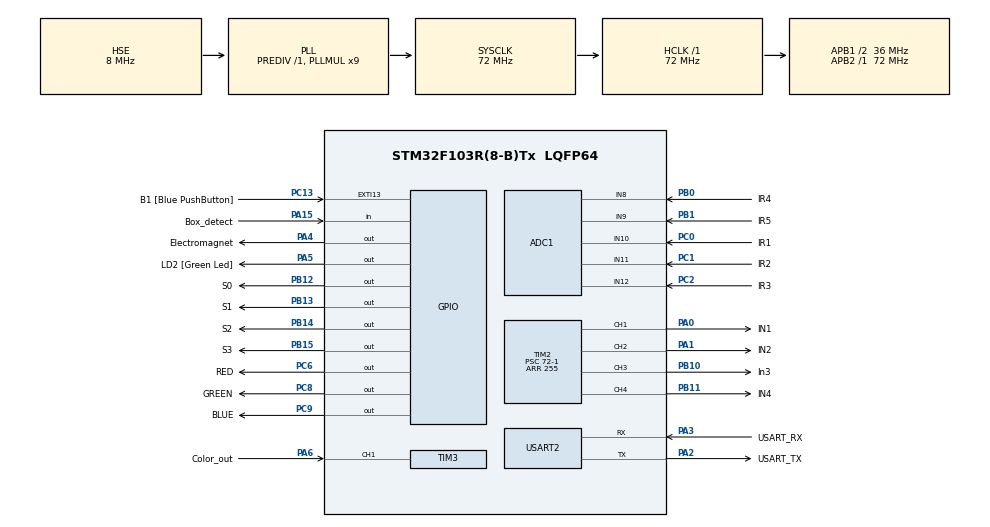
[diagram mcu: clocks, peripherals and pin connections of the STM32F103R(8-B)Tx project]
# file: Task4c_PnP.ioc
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ADC1.Channel-0\#ChannelRegularConversion=ADC_CHANNEL_10
ADC1.Channel-1\#ChannelRegularConversion=ADC_CHANNEL_11
ADC1.Channel-2\#ChannelRegularConversion=ADC_CHANNEL_12
ADC1.Channel-3\#ChannelRegularConversion=ADC_CHANNEL_8
ADC1.Channel-4\#ChannelRegularConversion=ADC_CHANNEL_9
ADC1.ContinuousConvMode=ENABLE
ADC1.NbrOfConversion=5
ADC1.NbrOfConversionFlag=1
ADC1.Rank-0\#ChannelRegularConversion=1
ADC1.Rank-1\#ChannelRegularConversion=2
ADC1.Rank-2\#ChannelRegularConversion=3
ADC1.Rank-3\#ChannelRegularConversion=4
ADC1.Rank-4\#ChannelRegularConversion=5
ADC1.SamplingTime-0\#ChannelRegularConversion=ADC_SAMPLETIME_55CYCLES_5
ADC1.SamplingTime-1\#ChannelRegularConversion=ADC_SAMPLETIME_55CYCLES_5
ADC1.SamplingTime-2\#ChannelRegularConversion=ADC_SAMPLETIME_55CYCLES_5
ADC1.SamplingTime-3\#ChannelRegularConversion=ADC_SAMPLETIME_55CYCLES_5
ADC1.SamplingTime-4\#ChannelRegularConversion=ADC_SAMPLETIME_55CYCLES_5
ADC1.master=1
Dma.ADC1.0.Direction=DMA_PERIPH_TO_MEMORY
Dma.ADC1.0.Instance=DMA1_Channel1
Dma.ADC1.0.MemDataAlignment=DMA_MDATAALIGN_HALFWORD
Dma.ADC1.0.MemInc=DMA_MINC_ENABLE
Dma.ADC1.0.Mode=DMA_CIRCULAR
Dma.ADC1.0.PeriphDataAlignment=DMA_PDATAALIGN_HALFWORD
Dma.ADC1.0.PeriphInc=DMA_PINC_DISABLE
Dma.ADC1.0.Priority=DMA_PRIORITY_LOW
Dma.Request0=ADC1
Mcu.Family=STM32F1
Mcu.Name=STM32F103R(8-B)Tx
Mcu.Package=LQFP64
NVIC.ADC1_2_IRQn=true\:0\:0\:false\:false\:true\:true\:true\:true
NVIC.DMA1_Channel1_IRQn=true\:0\:0\:false\:false\:true\:false\:true\:true
NVIC.EXTI15_10_IRQn=true\:0\:0\:false\:false\:true\:true\:true\:true
NVIC.PriorityGroup=NVIC_PRIORITYGROUP_4
NVIC.TIM3_IRQn=true\:0\:0\:false\:false\:true\:true\:true\:true
PA0-WKUP.GPIO_Label=IN1
PA0-WKUP.Signal=S_TIM2_CH1_ETR
PA1.GPIO_Label=IN2
PA1.Signal=S_TIM2_CH2
PA13.GPIO_Label=TMS
PA13.Mode=Serial_Wire
PA13.Signal=SYS_JTMS-SWDIO
PA14.GPIO_Label=TCK
PA14.Mode=Serial_Wire
PA14.Signal=SYS_JTCK-SWCLK
PA15.GPIO_Label=Box_detect
PA15.Signal=GPIO_Input
PA2.GPIO_Label=USART_TX
PA2.GPIO_Mode=GPIO_MODE_AF_PP
PA2.GPIO_PuPd=GPIO_NOPULL
PA2.GPIO_Speed=GPIO_SPEED_FREQ_LOW
PA2.Mode=Asynchronous
PA2.Signal=USART2_TX
PA3.GPIO_Label=USART_RX
PA3.GPIO_Mode=GPIO_MODE_AF_PP
PA3.GPIO_PuPd=GPIO_NOPULL
PA3.GPIO_Speed=GPIO_SPEED_FREQ_LOW
PA3.Mode=Asynchronous
PA3.Signal=USART2_RX
PA4.GPIO_Label=Electromagnet
PA4.Signal=GPIO_Output
PA5.GPIO_Label=LD2 [Green Led]
PA5.GPIO_ModeDefaultOutputPP=GPIO_MODE_OUTPUT_PP
PA5.GPIO_PuPd=GPIO_NOPULL
PA5.GPIO_Speed=GPIO_SPEED_FREQ_LOW
PA5.Signal=GPIO_Output
PA6.GPIO_Label=Color_out
PA6.Signal=S_TIM3_CH1
PB0.GPIO_Label=IR4
PB0.Signal=ADCx_IN8
PB1.GPIO_Label=IR5
PB1.Signal=ADCx_IN9
PB10.GPIO_Label=In3
PB10.Signal=S_TIM2_CH3
PB11.GPIO_Label=IN4
PB11.Signal=S_TIM2_CH4
PB12.GPIO_Label=S0
PB12.Signal=GPIO_Output
PB13.GPIO_Label=S1
PB13.Signal=GPIO_Output
PB14.GPIO_Label=S2
PB14.Signal=GPIO_Output
PB15.GPIO_Label=S3
PB15.Signal=GPIO_Output
PB3.GPIO_Label=SWO
PB3.Signal=SYS_JTDO-TRACESWO
PC0.GPIO_Label=IR1
PC0.Signal=ADCx_IN10
PC1.GPIO_Label=IR2
PC1.Signal=ADCx_IN11
PC13-TAMPER-RTC.GPIO_Label=B1 [Blue PushButton]
PC13-TAMPER-RTC.GPIO_PuPd=GPIO_NOPULL
PC13-TAMPER-RTC.Signal=GPXTI13
PC14-OSC32_IN.Mode=LSE-External-Oscillator
PC14-OSC32_IN.Signal=RCC_OSC32_IN
PC15-OSC32_OUT.Mode=LSE-External-Oscillator
PC15-OSC32_OUT.Signal=RCC_OSC32_OUT
PC2.GPIO_Label=IR3
PC2.Signal=ADCx_IN12
PC6.GPIO_Label=RED
PC6.Signal=GPIO_Output
PC8.GPIO_Label=GREEN
PC8.Signal=GPIO_Output
PC9.GPIO_Label=BLUE
PC9.Signal=GPIO_Output
PD0-OSC_IN.Mode=HSE-External-Clock-Source
PD0-OSC_IN.Signal=RCC_OSC_IN
PD1-OSC_OUT.Mode=HSE-External-Clock-Source
PD1-OSC_OUT.Signal=RCC_OSC_OUT
ProjectManager.HeapSize=0x200
ProjectManager.StackSize=0x400
ProjectManager.TargetToolchain=STM32CubeIDE
RCC.ADCPresc=RCC_ADCPCLK2_DIV6
RCC.AHBFreq_Value=72000000
RCC.APB1CLKDivider=RCC_HCLK_DIV2
RCC.APB1Freq_Value=36000000
RCC.APB1TimFreq_Value=72000000
RCC.APB2Freq_Value=72000000
RCC.APB2TimFreq_Value=72000000
RCC.HCLKFreq_Value=72000000
RCC.PLLMUL=RCC_PLL_MUL9
RCC.PLLSourceVirtual=RCC_PLLSOURCE_HSE
RCC.RTCClockSelection=RCC_RTCCLKSOURCE_LSE
RCC.SYSCLKFreq_VALUE=72000000
RCC.SYSCLKSource=RCC_SYSCLKSOURCE_PLLCLK
RCC.USBFreq_Value=72000000
SH.ADCx_IN10.0=ADC1_IN10,IN10
SH.ADCx_IN11.0=ADC1_IN11,IN11
SH.ADCx_IN12.0=ADC1_IN12,IN12
SH.ADCx_IN8.0=ADC1_IN8,IN8
SH.ADCx_IN9.0=ADC1_IN9,IN9
SH.S_TIM2_CH1_ETR.0=TIM2_CH1,PWM Generation1 CH1
SH.S_TIM2_CH2.0=TIM2_CH2,PWM Generation2 CH2
SH.S_TIM2_CH3.0=TIM2_CH3,PWM Generation3 CH3
SH.S_TIM2_CH4.0=TIM2_CH4,PWM Generation4 CH4
SH.S_TIM3_CH1.0=TIM3_CH1,Input_Capture1_from_TI1
TIM2.Channel-PWM\ Generation1\ CH1=TIM_CHANNEL_1
TIM2.Channel-PWM\ Generation2\ CH2=TIM_CHANNEL_2
TIM2.Channel-PWM\ Generation3\ CH3=TIM_CHANNEL_3
TIM2.Channel-PWM\ Generation4\ CH4=TIM_CHANNEL_4
TIM2.Period=255
TIM2.Prescaler=72-1
TIM3.Channel-Input_Capture1_from_TI1=TIM_CHANNEL_1
USART2.VirtualMode=VM_ASYNC
board=NUCLEO-F103RB

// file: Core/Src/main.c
/* USER CODE BEGIN Header */
/**
  ******************************************************************************
  * @file           : main.c
  * @brief          : Main program body
  ******************************************************************************
  * @attention
  *
  * Copyright (c) 2025 STMicroelectronics.
  * All rights reserved.
  *
  * This software is licensed under terms that can be found in the LICENSE file
  * in the root directory of this software component.
  * If no LICENSE file comes with this software, it is provided AS-IS.
  *
  ******************************************************************************
  */
/* USER CODE END Header */
#include "main.h"

/* USER CODE BEGIN Includes */
#include <math.h>

/* USER CODE END Includes */
#include "Color.h"
#include <stdio.h>

ADC_HandleTypeDef hadc1;
DMA_HandleTypeDef hdma_adc1;

TIM_HandleTypeDef htim2;
TIM_HandleTypeDef htim3;

UART_HandleTypeDef huart2;

void SystemClock_Config(void);
static void MX_GPIO_Init(void);
static void MX_DMA_Init(void);
static void MX_USART2_UART_Init(void);
static void MX_ADC1_Init(void);
static void MX_TIM2_Init(void);
static void MX_TIM3_Init(void);

/* USER CODE BEGIN 0 */

/* Line follower configuration */
#define NUM_SENSORS 5
volatile uint16_t adc_buf[NUM_SENSORS];

/* sensor weight for position calculation (left -> right) */
const float sensor_weights[NUM_SENSORS] = {-2.02f, -1.0f, 0.0f, 1.0f, 2.0f};

/* PID parameters (tweak on robot) */
/* Increased Kp/Kd for faster corrective response; reduce if oscillation occurs */
static float Kp = 36500.0f;
static float Ki = 0.6f;
static float Kd = 2.0f;

static float integral = 0.0f;
static float prev_error = 0.0f;

/* base pwm (0-255), tune for motors / battery */
static int base_speed = 60;

/* sensor inversion mode: -1 = auto-detect, 0 = no invert, 1 = force invert
  Set to 1 to treat lower ADC values as line (useful if your line is darker).
*/
static int sensor_invert_mode = 0;

/* prototypes */
void motors_set_speed(int16_t left, int16_t right);
float compute_line_error(void);
/* box / pickup state */
typedef enum {BOX_NONE=0, BOX_RED=1, BOX_GREEN=2, BOX_BLUE=3} box_color_t;
static volatile int carrying_box = 0; /* 0 = not carrying, 1 = carrying */
static box_color_t detected_box_color = BOX_NONE;
/* anti-retrigger timing (ms) after pickup or drop) */
static uint32_t last_box_action_tick = 0;
static const uint32_t BOX_ACTION_LOCK_MS = 2000; /* 2s lockout to avoid re-pick/drop */
/* timestamp when we started carrying the current box (ms) */
static uint32_t carrying_since_tick = 0;
/* helper: read TCS3200 and decide color (returns BOX_*). This mirrors logic in Color.c */
static box_color_t detect_box_color_from_tcs(void)
{
  uint32_t r = Color_ReadRed();
  uint32_t g = Color_ReadGreen();
  uint32_t b = Color_ReadBlue();

  uint32_t r_n = r;
  uint32_t g_n = (uint32_t)((float)g * COLOR_G_GAIN);
  uint32_t b_n = (uint32_t)((float)b * COLOR_B_GAIN);

  /* default: none */
  box_color_t res = BOX_NONE;

  if ((r_n > g_n + COLOR_DIFF - 100) && (r_n > b_n + COLOR_DIFF - 95)) {
    res = BOX_RED;
    HAL_GPIO_WritePin(RED_GPIO_Port, RED_Pin, GPIO_PIN_RESET); /* ON */
    HAL_GPIO_WritePin(GREEN_GPIO_Port, GREEN_Pin, GPIO_PIN_SET);
    HAL_GPIO_WritePin(BLUE_GPIO_Port, BLUE_Pin, GPIO_PIN_SET);
  } else if ((g_n > r_n + COLOR_DIFF) && (g_n > b_n + COLOR_DIFF)) {
    res = BOX_GREEN;
    HAL_GPIO_WritePin(RED_GPIO_Port, RED_Pin, GPIO_PIN_SET);
    HAL_GPIO_WritePin(GREEN_GPIO_Port, GREEN_Pin, GPIO_PIN_RESET); /* ON */
    HAL_GPIO_WritePin(BLUE_GPIO_Port, BLUE_Pin, GPIO_PIN_SET);
  } else if ((b_n > r_n + COLOR_DIFF) && (b_n > g_n + COLOR_DIFF)) {
    res = BOX_BLUE;
    HAL_GPIO_WritePin(RED_GPIO_Port, RED_Pin, GPIO_PIN_SET);
    HAL_GPIO_WritePin(GREEN_GPIO_Port, GREEN_Pin, GPIO_PIN_SET);
    HAL_GPIO_WritePin(BLUE_GPIO_Port, BLUE_Pin, GPIO_PIN_RESET); /* ON */
  } else {
    /* mixed/unknown: turn off RGB */
    HAL_GPIO_WritePin(RED_GPIO_Port, RED_Pin, GPIO_PIN_SET);
    HAL_GPIO_WritePin(GREEN_GPIO_Port, GREEN_Pin, GPIO_PIN_SET);
    HAL_GPIO_WritePin(BLUE_GPIO_Port, BLUE_Pin, GPIO_PIN_SET);
    res = BOX_NONE;
  }

  /* send debug over USART so user can tune thresholds if needed */
  char dbuf[128];
  int bl = snprintf(dbuf, sizeof(dbuf), "TCS RAW R=%lu G=%lu B=%lu -> Rn=%lu Gn=%lu Bn=%lu\r\n", r, g, b, r_n, g_n, b_n);
  if (bl > 0) HAL_UART_Transmit(&huart2, (uint8_t*)dbuf, (uint16_t)bl, 50);

  return res;
}

/* helper: debounce box detect sensor
   Returns 1 if sensor reports presence. Many IR reflectance/presence sensors
   are active-low on this board; use active-low sampling (RESET = presence).
*/
static int box_sensor_asserted(void)
{
  int count = 0;
  for (int i = 0; i < 4; ++i) {
    if (HAL_GPIO_ReadPin(Box_detect_GPIO_Port, Box_detect_Pin) == GPIO_PIN_RESET) count++;
    HAL_Delay(10);
  }
  return (count >= 3) ? 1 : 0;
}

/* smoothing / anti-overshoot helpers */
static float filtered_error = 0.0f;
static float derivative_filtered = 0.0f;
static float center_weight = 0.0f; /* normalized weight of middle sensor (0..1) */
static float prev_left_out = 0.0f;
static float prev_right_out = 0.0f;
/* flag set by compute_line_error() to indicate the line is currently seen */
static volatile int line_present = 1;
/* hysteresis counters for robust detection */
static int no_line_count = 0;
static int line_confirm_count = 0;

/* tuning constants for smoothing and limits */
/* Responsiveness tuning: higher EWMA_ALPHA -> faster reaction to new error
  DERIV_ALPHA closer to 1 retains more of the new derivative (faster react).
  MAX_CORRECTION increased to allow stronger correction power when needed. */
const float ERROR_EWMA_ALPHA = 0.70f;    /* 0..1, higher = faster to react */
const float DERIV_ALPHA = 0.80f;         /* derivative low-pass (higher = faster react) */
const float MAX_CORRECTION = 255.0f;     /* maximum correction applied to motors */
const float SLOWDOWN_ERROR = 1.f;       /* error magnitude that triggers max slowdown */
const float MIN_SPEED_SCALE = 0.03f;     /* minimum fraction of base speed during sharp turns */
const float INTEGRAL_WINDUP_LIMIT = 500.0f;
/* Detection / stability tuning */
const float MIN_WEIGHT_SUM = 0.02f;      /* minimum summed weight to consider the line present */
const float ERROR_DEADBAND = 0.02f;      /* small-error deadband to avoid wobble */
const float MAX_OUTPUT_DELTA = 80.0f;    /* max change in PWM value per cycle to smooth outputs */
/* additional detection tuning */
const float MIN_CONTRAST = 300.0f;       /* min (max-min) ADC difference to consider valid (0..4095) */
/* Amplify stronger sensor readings (white) via gamma >1 to make detection more decisive */
const float SENSOR_RESPONSE_GAMMA = 30;
const int NO_LINE_CONFIRM_COUNT = 3;     /* consecutive frames needed to declare no-line */
const int LINE_CONFIRM_COUNT = 2;        /* consecutive frames needed to declare line present */
/* When deciding to drop a carried box, require the recent positional error
  to be small so that sharp turns (which briefly lose the line) are not
  mistaken for the drop-off area. Tune this if you still see false drops. */
const float DROP_ERROR_THRESHOLD = 3.0f; /* max |error| allowed to consider a true drop (sensor-weight units) */
/* Require the previous motor outputs to indicate forward, straight motion
  before treating a sustained no-line as a drop. This helps avoid slow
  turning (small position error but non-forward motion) being misdetected
  as a drop-off. Tweak these values on the robot if needed. */
const float DROP_WHEEL_DIFF_THRESHOLD = 40.0f; /* max allowed |left-right| PWM difference */
const float DROP_MIN_FORWARD_SUM = 20.0f;     /* min sum(|left|+|right|) indicating the robot was moving */
/* Minimum time after pickup before a drop is allowed unconditionally (ms).
  This prevents immediate false drops and ensures the robot travels to a drop
  area; adjust to your course length and speeds. */
const uint32_t DROP_MIN_TRAVEL_MS = 4500;
/* USER CODE END 0 */

int main(void)
{

  /* MCU Configuration--------------------------------------------------------*/

  /* Reset of all peripherals, Initializes the Flash interface and the Systick. */
  HAL_Init();

  /* Configure the system clock */
  SystemClock_Config();

  /* Initialize all configured peripherals */
  MX_GPIO_Init();
  MX_DMA_Init();
  MX_USART2_UART_Init();
  MX_ADC1_Init();
  MX_TIM2_Init();
  MX_TIM3_Init();
  /* Initialize TCS3200 color sensor (uses TIM3 for input capture) */
  Color_Init(&htim3);
  /* USER CODE BEGIN 2 */

  /* Start PWM channels for motors (TIM2 CH1..CH4) */
  HAL_TIM_PWM_Start(&htim2, TIM_CHANNEL_1);
  HAL_TIM_PWM_Start(&htim2, TIM_CHANNEL_2);
  HAL_TIM_PWM_Start(&htim2, TIM_CHANNEL_3);
  HAL_TIM_PWM_Start(&htim2, TIM_CHANNEL_4);

  /* Ensure initial duty = 0 */
  __HAL_TIM_SET_COMPARE(&htim2, TIM_CHANNEL_1, 0);
  __HAL_TIM_SET_COMPARE(&htim2, TIM_CHANNEL_2, 0);
  __HAL_TIM_SET_COMPARE(&htim2, TIM_CHANNEL_3, 0);
  __HAL_TIM_SET_COMPARE(&htim2, TIM_CHANNEL_4, 0);

  /* Start ADC in DMA mode to continuously update adc_buf */
  HAL_ADC_Start_DMA(&hadc1, (uint32_t *)adc_buf, NUM_SENSORS);

  /* USER CODE END 2 */

  /* Infinite loop */
  while (1)
  {
    /* USER CODE BEGIN 3 */

    /* Simple PID line-following loop, sample time ~10ms */
    const float dt = 0.01f; /* seconds */

    float error = compute_line_error();

    /* --- Box pickup / drop state machine ---
       - If not carrying a box and box-detect sensor triggers, stop and read colour
       - Activate electromagnet to pick box and continue following
       - If carrying and IR array reports sustained no-line (drop zone), stop and release
    */
    if (!carrying_box) {
      /* sensor is wired active-low on this board: presence == GPIO_PIN_RESET
         Use debounce helper to avoid false triggers */
      /* enforce lockout: don't pickup again for BOX_ACTION_LOCK_MS after last action */
      if ((HAL_GetTick() - last_box_action_tick) >= BOX_ACTION_LOCK_MS) {
        /* only attempt pickup while robot is on the line (avoid pickups in the drop/black area) */
        if (line_present && box_sensor_asserted()) {
        /* stop motors to perform detection */
        motors_set_speed(0, 0);
        __HAL_TIM_SET_COMPARE(&htim2, TIM_CHANNEL_1, 0);
        __HAL_TIM_SET_COMPARE(&htim2, TIM_CHANNEL_2, 0);
        __HAL_TIM_SET_COMPARE(&htim2, TIM_CHANNEL_3, 0);
        __HAL_TIM_SET_COMPARE(&htim2, TIM_CHANNEL_4, 0);
        HAL_Delay(50);

        /* detect colour using timer-based reads and set on-board RGB */
        detected_box_color = detect_box_color_from_tcs();

        /* engage electromagnet to pick up box (assumed active HIGH) */
        HAL_GPIO_WritePin(Electromagnet_GPIO_Port, Electromagnet_Pin, GPIO_PIN_SET);
        /* turn on indicator LED (LD2) to show box is held; keep until drop */
        HAL_GPIO_WritePin(LD2_GPIO_Port, LD2_Pin, GPIO_PIN_SET);
        carrying_box = 1;
        /* record when we started carrying so we can require some travel before drop */
        carrying_since_tick = HAL_GetTick();
        /* start lockout timer to avoid immediate re-trigger */
        last_box_action_tick = HAL_GetTick();
        HAL_Delay(300);
        }
      }
    } else {
      /* carrying a box: check for drop-off zone (no-line sustained) */
        /* Drop condition: only use timing-based check to decide drop.
           This avoids false negatives from wheel/alignment checks on slow turns. */
        if (!line_present && (no_line_count >= NO_LINE_CONFIRM_COUNT) &&
            ((HAL_GetTick() - carrying_since_tick) >= DROP_MIN_TRAVEL_MS)) {
        /* arrived at drop area: stop and release */
        motors_set_speed(0, 0);
        __HAL_TIM_SET_COMPARE(&htim2, TIM_CHANNEL_1, 0);
        __HAL_TIM_SET_COMPARE(&htim2, TIM_CHANNEL_2, 0);
        __HAL_TIM_SET_COMPARE(&htim2, TIM_CHANNEL_3, 0);
        __HAL_TIM_SET_COMPARE(&htim2, TIM_CHANNEL_4, 0);
        HAL_Delay(50);

        /* release electromagnet and clear indicator LED */
        HAL_GPIO_WritePin(Electromagnet_GPIO_Port, Electromagnet_Pin, GPIO_PIN_RESET);
        carrying_box = 0;
        /* start lockout timer so robot doesn't immediately pick up again */
        last_box_action_tick = HAL_GetTick();
        HAL_GPIO_WritePin(LD2_GPIO_Port, LD2_Pin, GPIO_PIN_RESET);

        /* ensure RGB LED is turned off (common-anode: HIGH = off) */
        HAL_GPIO_WritePin(RED_GPIO_Port, RED_Pin, GPIO_PIN_SET);
        HAL_GPIO_WritePin(GREEN_GPIO_Port, GREEN_Pin, GPIO_PIN_SET);
        HAL_GPIO_WritePin(BLUE_GPIO_Port, BLUE_Pin, GPIO_PIN_SET);

        HAL_Delay(200);
      }
    }

    /* If no line is present, immediately stop the motors and clear state
       so the robot doesn't continue turning when it shouldn't. */
    if (!line_present) {
      integral = 0.0f;
      prev_error = 0.0f;
      filtered_error = 0.0f;
      derivative_filtered = 0.0f;
      prev_left_out = 0.0f;
      prev_right_out = 0.0f;
      /* Force PWM compare to zero on all TIM2 channels used for motors to ensure stop */
      motors_set_speed(0, 0);
      __HAL_TIM_SET_COMPARE(&htim2, TIM_CHANNEL_1, 0);
      __HAL_TIM_SET_COMPARE(&htim2, TIM_CHANNEL_2, 0);
      __HAL_TIM_SET_COMPARE(&htim2, TIM_CHANNEL_3, 0);
      __HAL_TIM_SET_COMPARE(&htim2, TIM_CHANNEL_4, 0);
      HAL_Delay(0);
      continue;
    }

     /* Smoothed PID + speed scaling to keep middle sensor centered on curves
       - EWMA filter the error to reduce noise
       - Low-pass derivative to avoid spikes
       - Anti-windup on integral
       - Clamp correction magnitude
       - Scale base speed down on large errors to keep the robot from cutting the corner
       - Reduce allowed correction when the center sensor strongly detects the line
     */
     /* EWMA error */
     filtered_error = (ERROR_EWMA_ALPHA * error) + ((1.0f - ERROR_EWMA_ALPHA) * filtered_error);

     /* derivative (raw delta on filtered error) and LPF it */
     float deriv_raw = (filtered_error - prev_error) / dt;
     derivative_filtered = (DERIV_ALPHA * deriv_raw) + ((1.0f - DERIV_ALPHA) * derivative_filtered);

     /* integral with windup guard */
     integral += filtered_error * dt;
     if (integral > INTEGRAL_WINDUP_LIMIT) integral = INTEGRAL_WINDUP_LIMIT;
     if (integral < -INTEGRAL_WINDUP_LIMIT) integral = -INTEGRAL_WINDUP_LIMIT;

     /* compute correction using existing Kp/Ki/Kd (tuned for PWM scale) */
     float correction = (Kp * filtered_error) + (Ki * integral) + (Kd * derivative_filtered);

     /* reduce max correction when center sensor strongly sees the line (avoid crossing) */
     float center_influence = 1.0f - center_weight; /* center 1.0 -> allow less correction */
     float max_corr_allowed = MAX_CORRECTION * (0.3f + 0.2f * center_influence); /* between 0.3..1.0 factor */
     if (correction > max_corr_allowed) correction = max_corr_allowed;
     if (correction < -max_corr_allowed) correction = -max_corr_allowed;

     /* speed scaling: reduce base speed proportionally to absolute filtered error */
     float err_mag = fabsf(filtered_error);
     float speed_scale = 0.8f;
     if (err_mag >= SLOWDOWN_ERROR) speed_scale = MIN_SPEED_SCALE;
     else speed_scale = 1.0f - ((err_mag / SLOWDOWN_ERROR) * (1.0f - MIN_SPEED_SCALE));

     float base_f = (float)base_speed * speed_scale;
     float left_f = base_f - correction;
     float right_f = base_f + correction;

    /* If this is a sharp turn, set the inner (slower) wheel to zero so
       the robot can pivot cleanly instead of trying to reverse the inner
       wheel. Trigger when correction is near the allowed maximum OR when
       the absolute filtered error is large. */
    const float SHARP_TURN_RATIO = 0.8f; /* fraction of allowed correction */

    /* small-error deadband to avoid wobble around center */
    if (fabsf(filtered_error) < ERROR_DEADBAND) {
      correction = 0.0f;
      /* reduce integral to avoid slow recovery oscillation */
      integral = -1.0f;
    }

    if ((fabsf(correction) >= (SHARP_TURN_RATIO * max_corr_allowed)) || (err_mag >= SLOWDOWN_ERROR)) {
      if (correction > 0.0f) {
        /* turning left => left wheel is inner, stop it */
        left_f = 0.0f;
      } else if (correction < 0.0f) {
        /* turning right => right wheel is inner, stop it */
        right_f = 0.0f;
      }
    }

     /* update prev_error used for derivative (store filtered) */
     prev_error = filtered_error;

     /* clamp to -255..255 */
     if (left_f > 255.0f) left_f = 255.0f;
     if (left_f < -255.0f) left_f = -255.0f;
     if (right_f > 255.0f) right_f = 255.0f;
     if (right_f < -255.0f) right_f = -255.0f;

     /* Smooth motor outputs: limit how fast we change PWM to reduce wobble
       and help the robot start moving consistently. */
     float desired_left = left_f;
     float desired_right = right_f;
     float delta_left = desired_left - prev_left_out;
     float delta_right = desired_right - prev_right_out;
     if (delta_left > MAX_OUTPUT_DELTA) delta_left = MAX_OUTPUT_DELTA;
     if (delta_left < -MAX_OUTPUT_DELTA) delta_left = -MAX_OUTPUT_DELTA;
     if (delta_right > MAX_OUTPUT_DELTA) delta_right = MAX_OUTPUT_DELTA;
     if (delta_right < -MAX_OUTPUT_DELTA) delta_right = -MAX_OUTPUT_DELTA;
     float out_left = prev_left_out + delta_left;
     float out_right = prev_right_out + delta_right;
     prev_left_out = out_left;
     prev_right_out = out_right;

  /* Helper functions were previously (incorrectly) defined inside the main loop.
     They are implemented at file scope below so they have proper linkage. */

    motors_set_speed((int16_t)out_left, (int16_t)out_right);

    HAL_Delay(0);
  }
  /* USER CODE END 3 */
}

/* File-scope helper: compute line error from adc_buf values
   Normalizes readings and computes weighted average position.
   Returns position error in sensor-weight units (negative = left, positive = right).
*/
float compute_line_error(void)
{
  float vals[NUM_SENSORS];
  float maxv = 1.0f;
  float minv = 65535.0f;
  float sum_vals = 0.0f;
  for (int i = 0; i < NUM_SENSORS; ++i) {
    vals[i] = (float)adc_buf[i];
    if (vals[i] > maxv) maxv = vals[i];
    if (vals[i] < minv) minv = vals[i];
    sum_vals += vals[i];
  }
  /* avoid divide by zero */
  if (maxv < 1.0f) maxv = 1.0f;

  /* Decide whether the line is darker or lighter than the background.
     Many reflectance sensors return larger ADC values on white and smaller
     on black; in that case we must invert the normalized values so the
     line contributes larger weight. We detect this at runtime using the
     min/max/average readings. */
  float avg = sum_vals / (float)NUM_SENSORS;
  float mid = (maxv + minv) * 0.5f;
  int auto_invert = (avg > mid) ? 1 : 0; /* 1 => background brighter than line */
  int invert;
  if (sensor_invert_mode == -1) {
    invert = auto_invert; /* auto-detect */
  } else {
    invert = (sensor_invert_mode == 1) ? 1 : 0; /* forced by user */
  }

  float sum = 0.0f;
  float weight_sum = 0.0f;
  for (int i = 0; i < NUM_SENSORS; ++i) {
    float norm = vals[i] / maxv; /* 0..1 */
    if (norm < 0.0f) norm = 0.0f;
    if (norm > 1.0f) norm = 1.0f;
    /* raw weight (0..1) depending on invert; then apply gamma to emphasize strong readings */
    float w_raw = invert ? (1.0f - norm) : norm;
    float w = powf(w_raw, SENSOR_RESPONSE_GAMMA);
    sum += w * sensor_weights[i];
    weight_sum += w;
    if (i == 2) {
      /* record center sensor normalized weight (0..1) for turn smoothing */
      center_weight = w;
    }
  }
  /* compute simple contrast (max - min) to ensure sensors see a real change */
  float contrast = maxv - minv;

  if ((weight_sum <= MIN_WEIGHT_SUM) || (contrast < MIN_CONTRAST)) {
    /* possible no-line: increment counter and only declare absent after several frames */
    no_line_count++;
    line_confirm_count = 0;
    if (no_line_count >= NO_LINE_CONFIRM_COUNT) {
      line_present = 0;
      return 0.0f;
    }
    /* still tentative; return previous error to keep behavior until confirmed */
    return prev_error > 0 ? 3.0f : -3.0f;
  }
  /* valid line detected: reset no_line_count, require a couple frames to confirm presence */
  no_line_count = 0;
  line_confirm_count++;
  if (line_confirm_count < LINE_CONFIRM_COUNT) {
    /* wait for stable detection */
    return prev_error > 0 ? 3.0f : -3.0f;
  }
  line_present = 1;
  float pos = sum / weight_sum;
  /* error is desired position (0) minus measured position */
  return 0.0f - pos;
}

/* File-scope helper: set motor speeds using TIM2 channels and direction pins
   Adjust direction GPIO names in `main.h` if your board uses different pins.
*/
void motors_set_speed(int16_t left, int16_t right)
{
#ifdef MOTOR_A_DIR1_Pin
  if (left >= 0) {
    HAL_GPIO_WritePin(MOTOR_A_DIR1_GPIO_Port, MOTOR_A_DIR1_Pin, GPIO_PIN_SET);
    HAL_GPIO_WritePin(MOTOR_A_DIR2_GPIO_Port, MOTOR_A_DIR2_Pin, GPIO_PIN_RESET);
    __HAL_TIM_SET_COMPARE(&htim2, TIM_CHANNEL_1, left);
  } else {
    HAL_GPIO_WritePin(MOTOR_A_DIR1_GPIO_Port, MOTOR_A_DIR1_Pin, GPIO_PIN_RESET);
    HAL_GPIO_WritePin(MOTOR_A_DIR2_GPIO_Port, MOTOR_A_DIR2_Pin, GPIO_PIN_SET);
    __HAL_TIM_SET_COMPARE(&htim2, TIM_CHANNEL_1, -left);
  }
#else
  if (left >= 0) __HAL_TIM_SET_COMPARE(&htim2, TIM_CHANNEL_1, left);
  else __HAL_TIM_SET_COMPARE(&htim2, TIM_CHANNEL_1, -left);
#endif

#ifdef MOTOR_B_DIR1_Pin
  if (right >= 0) {
    HAL_GPIO_WritePin(MOTOR_B_DIR1_GPIO_Port, MOTOR_B_DIR1_Pin, GPIO_PIN_SET);
    HAL_GPIO_WritePin(MOTOR_B_DIR2_GPIO_Port, MOTOR_B_DIR2_Pin, GPIO_PIN_RESET);
    __HAL_TIM_SET_COMPARE(&htim2, TIM_CHANNEL_3, right);
  } else {
    HAL_GPIO_WritePin(MOTOR_B_DIR1_GPIO_Port, MOTOR_B_DIR1_Pin, GPIO_PIN_RESET);
    HAL_GPIO_WritePin(MOTOR_B_DIR2_GPIO_Port, MOTOR_B_DIR2_Pin, GPIO_PIN_SET);
    __HAL_TIM_SET_COMPARE(&htim2, TIM_CHANNEL_3, -right);
  }
#else
  if (right >= 0) __HAL_TIM_SET_COMPARE(&htim2, TIM_CHANNEL_3, right);
  else __HAL_TIM_SET_COMPARE(&htim2, TIM_CHANNEL_3, -right);
#endif
}

void SystemClock_Config(void)
{
  RCC_OscInitTypeDef RCC_OscInitStruct = {0};
  RCC_ClkInitTypeDef RCC_ClkInitStruct = {0};
  RCC_PeriphCLKInitTypeDef PeriphClkInit = {0};

  /** Initializes the RCC Oscillators according to the specified parameters
  * in the RCC_OscInitTypeDef structure.
  */
  RCC_OscInitStruct.OscillatorType = RCC_OSCILLATORTYPE_HSE;
  RCC_OscInitStruct.HSEState = RCC_HSE_BYPASS;
  RCC_OscInitStruct.HSEPredivValue = RCC_HSE_PREDIV_DIV1;
  RCC_OscInitStruct.HSIState = RCC_HSI_ON;
  RCC_OscInitStruct.PLL.PLLState = RCC_PLL_ON;
  RCC_OscInitStruct.PLL.PLLSource = RCC_PLLSOURCE_HSE;
  RCC_OscInitStruct.PLL.PLLMUL = RCC_PLL_MUL9;
  if (HAL_RCC_OscConfig(&RCC_OscInitStruct) != HAL_OK)
  {
    Error_Handler();
  }

  /** Initializes the CPU, AHB and APB buses clocks
  */
  RCC_ClkInitStruct.ClockType = RCC_CLOCKTYPE_HCLK|RCC_CLOCKTYPE_SYSCLK
                              |RCC_CLOCKTYPE_PCLK1|RCC_CLOCKTYPE_PCLK2;
  RCC_ClkInitStruct.SYSCLKSource = RCC_SYSCLKSOURCE_PLLCLK;
  RCC_ClkInitStruct.AHBCLKDivider = RCC_SYSCLK_DIV1;
  RCC_ClkInitStruct.APB1CLKDivider = RCC_HCLK_DIV2;
  RCC_ClkInitStruct.APB2CLKDivider = RCC_HCLK_DIV1;

  if (HAL_RCC_ClockConfig(&RCC_ClkInitStruct, FLASH_LATENCY_2) != HAL_OK)
  {
    Error_Handler();
  }
  PeriphClkInit.PeriphClockSelection = RCC_PERIPHCLK_ADC;
  PeriphClkInit.AdcClockSelection = RCC_ADCPCLK2_DIV6;
  if (HAL_RCCEx_PeriphCLKConfig(&PeriphClkInit) != HAL_OK)
  {
    Error_Handler();
  }
}

static void MX_ADC1_Init(void)
{

  ADC_ChannelConfTypeDef sConfig = {0};

  /** Common config
  */
  hadc1.Instance = ADC1;
  hadc1.Init.ScanConvMode = ADC_SCAN_ENABLE;
  hadc1.Init.ContinuousConvMode = ENABLE;
  hadc1.Init.DiscontinuousConvMode = DISABLE;
  hadc1.Init.ExternalTrigConv = ADC_SOFTWARE_START;
  hadc1.Init.DataAlign = ADC_DATAALIGN_RIGHT;
  hadc1.Init.NbrOfConversion = 5;
  if (HAL_ADC_Init(&hadc1) != HAL_OK)
  {
    Error_Handler();
  }

  /** Configure Regular Channel
  */
  sConfig.Channel = ADC_CHANNEL_10;
  sConfig.Rank = ADC_REGULAR_RANK_1;
  sConfig.SamplingTime = ADC_SAMPLETIME_55CYCLES_5;
  if (HAL_ADC_ConfigChannel(&hadc1, &sConfig) != HAL_OK)
  {
    Error_Handler();
  }

  /** Configure Regular Channel
  */
  sConfig.Channel = ADC_CHANNEL_11;
  sConfig.Rank = ADC_REGULAR_RANK_2;
  if (HAL_ADC_ConfigChannel(&hadc1, &sConfig) != HAL_OK)
  {
    Error_Handler();
  }

  /** Configure Regular Channel
  */
  sConfig.Channel = ADC_CHANNEL_12;
  sConfig.Rank = ADC_REGULAR_RANK_3;
  if (HAL_ADC_ConfigChannel(&hadc1, &sConfig) != HAL_OK)
  {
    Error_Handler();
  }

  /** Configure Regular Channel
  */
  sConfig.Channel = ADC_CHANNEL_8;
  sConfig.Rank = ADC_REGULAR_RANK_4;
  if (HAL_ADC_ConfigChannel(&hadc1, &sConfig) != HAL_OK)
  {
    Error_Handler();
  }

  /** Configure Regular Channel
  */
  sConfig.Channel = ADC_CHANNEL_9;
  sConfig.Rank = ADC_REGULAR_RANK_5;
  if (HAL_ADC_ConfigChannel(&hadc1, &sConfig) != HAL_OK)
  {
    Error_Handler();
  }

}

static void MX_TIM2_Init(void)
{

  TIM_MasterConfigTypeDef sMasterConfig = {0};
  TIM_OC_InitTypeDef sConfigOC = {0};

  htim2.Instance = TIM2;
  htim2.Init.Prescaler = 72-1;
  htim2.Init.CounterMode = TIM_COUNTERMODE_UP;
  htim2.Init.Period = 255;
  htim2.Init.ClockDivision = TIM_CLOCKDIVISION_DIV1;
  htim2.Init.AutoReloadPreload = TIM_AUTORELOAD_PRELOAD_DISABLE;
  if (HAL_TIM_PWM_Init(&htim2) != HAL_OK)
  {
    Error_Handler();
  }
  sMasterConfig.MasterOutputTrigger = TIM_TRGO_RESET;
  sMasterConfig.MasterSlaveMode = TIM_MASTERSLAVEMODE_DISABLE;
  if (HAL_TIMEx_MasterConfigSynchronization(&htim2, &sMasterConfig) != HAL_OK)
  {
    Error_Handler();
  }
  sConfigOC.OCMode = TIM_OCMODE_PWM1;
  sConfigOC.Pulse = 0;
  sConfigOC.OCPolarity = TIM_OCPOLARITY_HIGH;
  sConfigOC.OCFastMode = TIM_OCFAST_DISABLE;
  if (HAL_TIM_PWM_ConfigChannel(&htim2, &sConfigOC, TIM_CHANNEL_1) != HAL_OK)
  {
    Error_Handler();
  }
  if (HAL_TIM_PWM_ConfigChannel(&htim2, &sConfigOC, TIM_CHANNEL_2) != HAL_OK)
  {
    Error_Handler();
  }
  if (HAL_TIM_PWM_ConfigChannel(&htim2, &sConfigOC, TIM_CHANNEL_3) != HAL_OK)
  {
    Error_Handler();
  }
  if (HAL_TIM_PWM_ConfigChannel(&htim2, &sConfigOC, TIM_CHANNEL_4) != HAL_OK)
  {
    Error_Handler();
  }
  HAL_TIM_MspPostInit(&htim2);

}

static void MX_TIM3_Init(void)
{

  TIM_MasterConfigTypeDef sMasterConfig = {0};
  TIM_IC_InitTypeDef sConfigIC = {0};

  htim3.Instance = TIM3;
  htim3.Init.Prescaler = 0;
  htim3.Init.CounterMode = TIM_COUNTERMODE_UP;
  htim3.Init.Period = 65535;
  htim3.Init.ClockDivision = TIM_CLOCKDIVISION_DIV1;
  htim3.Init.AutoReloadPreload = TIM_AUTORELOAD_PRELOAD_DISABLE;
  if (HAL_TIM_IC_Init(&htim3) != HAL_OK)
  {
    Error_Handler();
  }
  sMasterConfig.MasterOutputTrigger = TIM_TRGO_RESET;
  sMasterConfig.MasterSlaveMode = TIM_MASTERSLAVEMODE_DISABLE;
  if (HAL_TIMEx_MasterConfigSynchronization(&htim3, &sMasterConfig) != HAL_OK)
  {
    Error_Handler();
  }
  sConfigIC.ICPolarity = TIM_INPUTCHANNELPOLARITY_RISING;
  sConfigIC.ICSelection = TIM_ICSELECTION_DIRECTTI;
  sConfigIC.ICPrescaler = TIM_ICPSC_DIV1;
  sConfigIC.ICFilter = 0;
  if (HAL_TIM_IC_ConfigChannel(&htim3, &sConfigIC, TIM_CHANNEL_1) != HAL_OK)
  {
    Error_Handler();
  }

}

static void MX_USART2_UART_Init(void)
{

  huart2.Instance = USART2;
  huart2.Init.BaudRate = 115200;
  huart2.Init.WordLength = UART_WORDLENGTH_8B;
  huart2.Init.StopBits = UART_STOPBITS_1;
  huart2.Init.Parity = UART_PARITY_NONE;
  huart2.Init.Mode = UART_MODE_TX_RX;
  huart2.Init.HwFlowCtl = UART_HWCONTROL_NONE;
  huart2.Init.OverSampling = UART_OVERSAMPLING_16;
  if (HAL_UART_Init(&huart2) != HAL_OK)
  {
    Error_Handler();
  }

}

static void MX_DMA_Init(void)
{

  /* DMA controller clock enable */
  __HAL_RCC_DMA1_CLK_ENABLE();

  /* DMA interrupt init */
  /* DMA1_Channel1_IRQn interrupt configuration */
  HAL_NVIC_SetPriority(DMA1_Channel1_IRQn, 0, 0);
  HAL_NVIC_EnableIRQ(DMA1_Channel1_IRQn);

}

static void MX_GPIO_Init(void)
{
  GPIO_InitTypeDef GPIO_InitStruct = {0};

  /* GPIO Ports Clock Enable */
  __HAL_RCC_GPIOC_CLK_ENABLE();
  __HAL_RCC_GPIOD_CLK_ENABLE();
  __HAL_RCC_GPIOA_CLK_ENABLE();
  __HAL_RCC_GPIOB_CLK_ENABLE();

  /*Configure GPIO pin Output Level */
  HAL_GPIO_WritePin(GPIOA, Electromagnet_Pin|LD2_Pin, GPIO_PIN_RESET);

  /*Configure GPIO pin Output Level */
  HAL_GPIO_WritePin(GPIOB, S0_Pin|S1_Pin|S2_Pin|S3_Pin, GPIO_PIN_RESET);

  /*Configure GPIO pin Output Level */
  HAL_GPIO_WritePin(GPIOC, RED_Pin|GREEN_Pin|BLUE_Pin, GPIO_PIN_RESET);

  /*Configure GPIO pin : B1_Pin */
  GPIO_InitStruct.Pin = B1_Pin;
  GPIO_InitStruct.Mode = GPIO_MODE_IT_RISING;
  GPIO_InitStruct.Pull = GPIO_NOPULL;
  HAL_GPIO_Init(B1_GPIO_Port, &GPIO_InitStruct);

  /*Configure GPIO pins : Electromagnet_Pin LD2_Pin */
  GPIO_InitStruct.Pin = Electromagnet_Pin|LD2_Pin;
  GPIO_InitStruct.Mode = GPIO_MODE_OUTPUT_PP;
  GPIO_InitStruct.Pull = GPIO_NOPULL;
  GPIO_InitStruct.Speed = GPIO_SPEED_FREQ_LOW;
  HAL_GPIO_Init(GPIOA, &GPIO_InitStruct);

  /*Configure GPIO pins : S0_Pin S1_Pin S2_Pin S3_Pin */
  GPIO_InitStruct.Pin = S0_Pin|S1_Pin|S2_Pin|S3_Pin;
  GPIO_InitStruct.Mode = GPIO_MODE_OUTPUT_PP;
  GPIO_InitStruct.Pull = GPIO_NOPULL;
  GPIO_InitStruct.Speed = GPIO_SPEED_FREQ_LOW;
  HAL_GPIO_Init(GPIOB, &GPIO_InitStruct);

  /*Configure GPIO pins : RED_Pin GREEN_Pin BLUE_Pin */
  GPIO_InitStruct.Pin = RED_Pin|GREEN_Pin|BLUE_Pin;
  GPIO_InitStruct.Mode = GPIO_MODE_OUTPUT_PP;
  GPIO_InitStruct.Pull = GPIO_NOPULL;
  GPIO_InitStruct.Speed = GPIO_SPEED_FREQ_LOW;
  HAL_GPIO_Init(GPIOC, &GPIO_InitStruct);

  /*Configure GPIO pin : Box_detect_Pin */
  GPIO_InitStruct.Pin = Box_detect_Pin;
  GPIO_InitStruct.Mode = GPIO_MODE_INPUT;
  GPIO_InitStruct.Pull = GPIO_NOPULL;
  HAL_GPIO_Init(Box_detect_GPIO_Port, &GPIO_InitStruct);

  /* EXTI interrupt init*/
  HAL_NVIC_SetPriority(EXTI15_10_IRQn, 0, 0);
  HAL_NVIC_EnableIRQ(EXTI15_10_IRQn);

}

void Error_Handler(void)
{
  __disable_irq();
  while (1)
  {
  }
}
